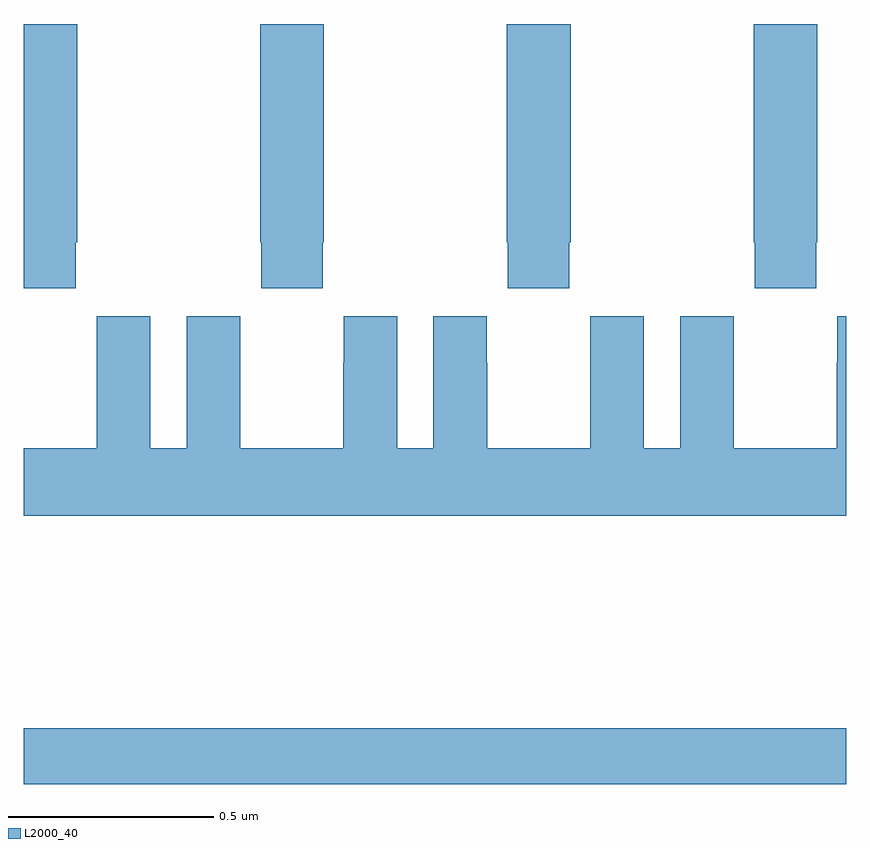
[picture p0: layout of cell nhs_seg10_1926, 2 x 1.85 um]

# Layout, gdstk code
import gdstk
lib = gdstk.Library(unit=1e-6, precision=1e-09)
def R(c, l, rs):  # rectangles x0, y0, x1, y1
    for r in rs: c.add(gdstk.rectangle(r[:2], r[2:], *l))
def P(c, l, *ps):  # polygons
    for p in ps: c.add(gdstk.Polygon(p, *l))
L2000_40 = (2000, 40)

nhs_seg10_1926 = lib.new_cell('nhs_seg10_1926')
R(nhs_seg10_1926, L2000_40, [(134,1311.652,136,1311.788)])
P(nhs_seg10_1926, L2000_40, [(134.127,1312.969),(134.13,1312.969),(134.13,1313.5),(134,1313.5),(134,1312.857),(134.127,1312.857)],
  [(134.727,1312.969),(134.73,1312.969),(134.73,1313.5),(134.575,1313.5),(134.575,1312.969),(134.577,1312.969),(134.577,1312.857),(134.727,1312.857)],
  [(135.327,1312.969),(135.33,1312.969),(135.33,1313.5),(135.175,1313.5),(135.175,1312.969),(135.177,1312.969),(135.177,1312.857),(135.327,1312.857)],
  [(135.927,1312.969),(135.93,1312.969),(135.93,1313.5),(135.775,1313.5),(135.775,1312.969),(135.777,1312.969),(135.777,1312.857),(135.927,1312.857)],
  [(136,1312.789),(135.978,1312.789),(135.978,1312.676),(135.977,1312.676),(135.977,1312.468),(135.727,1312.468),(135.727,1312.676),(135.726,1312.676),(135.726,1312.789),(135.596,1312.789),(135.596,1312.468),(135.508,1312.468),(135.508,1312.789),(135.378,1312.789),(135.378,1312.676),(135.377,1312.676),(135.377,1312.468),(135.127,1312.468),(135.127,1312.676),(135.126,1312.676),(135.126,1312.789),(134.996,1312.789),(134.996,1312.468),(134.908,1312.468),(134.908,1312.789),(134.778,1312.789),(134.778,1312.676),(134.777,1312.676),(134.777,1312.468),(134.527,1312.468),(134.527,1312.676),(134.526,1312.676),(134.526,1312.789),(134.396,1312.789),(134.396,1312.468),(134.308,1312.468),(134.308,1312.789),(134.178,1312.789),(134.178,1312.676),(134.177,1312.676),(134.177,1312.468),(134,1312.468),(134,1312.304),(136,1312.304)])

lib.write_gds('nhs_seg10_1926.gds')
